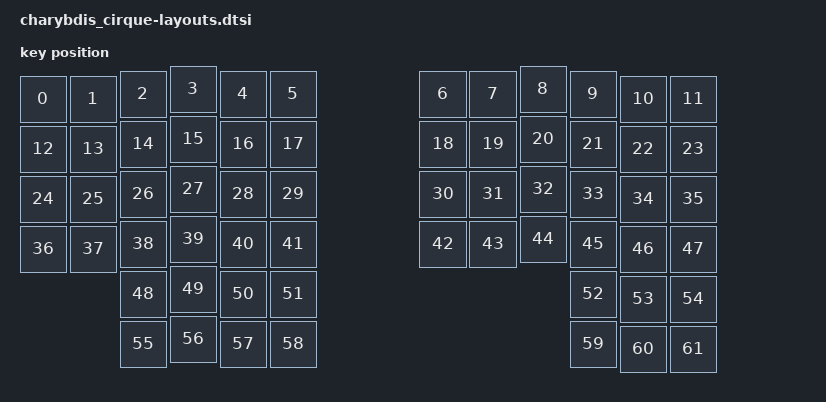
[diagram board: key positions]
#include <physical_layouts.dtsi>

/ {
  default_layout: default_layout {
    compatible = "zmk,physical-layout";
    display-name = "Layout";

    transform = <&default_transform>;

    keys  //                   w   h    x    y     rot    rx    ry
      = <&key_physical_attrs 100 100    0   20       0     0     0>
      , <&key_physical_attrs 100 100  100   20       0     0     0>
      , <&key_physical_attrs 100 100  200   10       0     0     0>
      , <&key_physical_attrs 100 100  300    0       0     0     0>
      , <&key_physical_attrs 100 100  400   10       0     0     0>
      , <&key_physical_attrs 100 100  500   10       0     0     0>

      , <&key_physical_attrs 100 100  800   10       0     0     0>
      , <&key_physical_attrs 100 100  900   10       0     0     0>
      , <&key_physical_attrs 100 100 1000    0       0     0     0>
      , <&key_physical_attrs 100 100 1100   10       0     0     0>
      , <&key_physical_attrs 100 100 1200   20       0     0     0>
      , <&key_physical_attrs 100 100 1300   20       0     0     0>


      , <&key_physical_attrs 100 100    0  120       0     0     0>
      , <&key_physical_attrs 100 100  100  120       0     0     0>
      , <&key_physical_attrs 100 100  200  110       0     0     0>
      , <&key_physical_attrs 100 100  300  100       0     0     0>
      , <&key_physical_attrs 100 100  400  110       0     0     0>
      , <&key_physical_attrs 100 100  500  110       0     0     0>

      , <&key_physical_attrs 100 100  800  110       0     0     0>
      , <&key_physical_attrs 100 100  900  110       0     0     0>
      , <&key_physical_attrs 100 100 1000  100       0     0     0>
      , <&key_physical_attrs 100 100 1100  110       0     0     0>
      , <&key_physical_attrs 100 100 1200  120       0     0     0>
      , <&key_physical_attrs 100 100 1300  120       0     0     0>


      , <&key_physical_attrs 100 100    0  220       0     0     0>
      , <&key_physical_attrs 100 100  100  220       0     0     0>
      , <&key_physical_attrs 100 100  200  210       0     0     0>
      , <&key_physical_attrs 100 100  300  200       0     0     0>
      , <&key_physical_attrs 100 100  400  210       0     0     0>
      , <&key_physical_attrs 100 100  500  210       0     0     0>

      , <&key_physical_attrs 100 100  800  210       0     0     0>
      , <&key_physical_attrs 100 100  900  210       0     0     0>
      , <&key_physical_attrs 100 100 1000  200       0     0     0>
      , <&key_physical_attrs 100 100 1100  210       0     0     0>
      , <&key_physical_attrs 100 100 1200  220       0     0     0>
      , <&key_physical_attrs 100 100 1300  220       0     0     0>


      , <&key_physical_attrs 100 100    0  320       0     0     0>
      , <&key_physical_attrs 100 100  100  320       0     0     0>
      , <&key_physical_attrs 100 100  200  310       0     0     0>
      , <&key_physical_attrs 100 100  300  300       0     0     0>
      , <&key_physical_attrs 100 100  400  310       0     0     0>
      , <&key_physical_attrs 100 100  500  310       0     0     0>

      , <&key_physical_attrs 100 100  800  310       0     0     0>
      , <&key_physical_attrs 100 100  900  310       0     0     0>
      , <&key_physical_attrs 100 100 1000  300       0     0     0>
      , <&key_physical_attrs 100 100 1100  310       0     0     0>
      , <&key_physical_attrs 100 100 1200  320       0     0     0>
      , <&key_physical_attrs 100 100 1300  320       0     0     0>


      , <&key_physical_attrs 100 100  200  410       0     0     0>
      , <&key_physical_attrs 100 100  300  400       0     0     0>
      , <&key_physical_attrs 100 100  400  410       0     0     0>
      , <&key_physical_attrs 100 100  500  410       0     0     0>

      , <&key_physical_attrs 100 100 1100  410       0     0     0>
      , <&key_physical_attrs 100 100 1200  420       0     0     0>
      , <&key_physical_attrs 100 100 1300  420       0     0     0>


      , <&key_physical_attrs 100 100  200  510       0     0     0>
      , <&key_physical_attrs 100 100  300  500       0     0     0>
      , <&key_physical_attrs 100 100  400  510       0     0     0>
      , <&key_physical_attrs 100 100  500  510       0     0     0>

      , <&key_physical_attrs 100 100 1100  510       0     0     0>
      , <&key_physical_attrs 100 100 1200  520       0     0     0>
      , <&key_physical_attrs 100 100 1300  520       0     0     0>
    ;
  };
};

